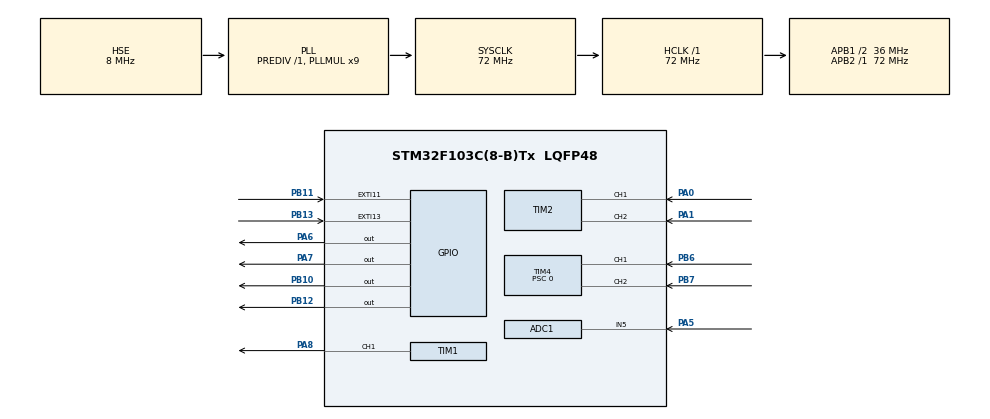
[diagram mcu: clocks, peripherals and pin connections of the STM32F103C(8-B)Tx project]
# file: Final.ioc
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ADC1.Channel-0\#ChannelRegularConversion=ADC_CHANNEL_5
ADC1.ContinuousConvMode=ENABLE
ADC1.NbrOfConversionFlag=1
ADC1.Rank-0\#ChannelRegularConversion=1
ADC1.SamplingTime-0\#ChannelRegularConversion=ADC_SAMPLETIME_1CYCLE_5
ADC1.master=1
Mcu.Family=STM32F1
Mcu.Name=STM32F103C(8-B)Tx
Mcu.Package=LQFP48
NVIC.EXTI15_10_IRQn=true\:0\:0\:false\:false\:true\:true\:true\:true
NVIC.PriorityGroup=NVIC_PRIORITYGROUP_4
NVIC.TIM2_IRQn=true\:0\:0\:false\:false\:true\:true\:true\:true
NVIC.TIM3_IRQn=true\:0\:0\:false\:false\:true\:true\:true\:true
PA0-WKUP.Signal=S_TIM2_CH1_ETR
PA1.Signal=S_TIM2_CH2
PA13.Mode=Serial_Wire
PA13.Signal=SYS_JTMS-SWDIO
PA14.Mode=Serial_Wire
PA14.Signal=SYS_JTCK-SWCLK
PA5.Signal=ADCx_IN5
PA6.GPIO_Speed=GPIO_SPEED_FREQ_HIGH
PA6.PinState=GPIO_PIN_RESET
PA6.Signal=GPIO_Output
PA7.GPIO_Speed=GPIO_SPEED_FREQ_HIGH
PA7.PinState=GPIO_PIN_SET
PA7.Signal=GPIO_Output
PA8.Signal=S_TIM1_CH1
PB10.PinState=GPIO_PIN_RESET
PB10.Signal=GPIO_Output
PB11.GPIO_PuPd=GPIO_PULLDOWN
PB11.Signal=GPXTI11
PB12.GPIO_Speed=GPIO_SPEED_FREQ_HIGH
PB12.Signal=GPIO_Output
PB13.GPIO_PuPd=GPIO_PULLDOWN
PB13.Signal=GPXTI13
PB6.Signal=S_TIM4_CH1
PB7.Signal=S_TIM4_CH2
PD0-OSC_IN.Mode=HSE-External-Oscillator
PD0-OSC_IN.Signal=RCC_OSC_IN
PD1-OSC_OUT.Mode=HSE-External-Oscillator
PD1-OSC_OUT.Signal=RCC_OSC_OUT
ProjectManager.HeapSize=0x200
ProjectManager.StackSize=0x400
ProjectManager.TargetToolchain=STM32CubeIDE
RCC.ADCPresc=RCC_ADCPCLK2_DIV6
RCC.AHBFreq_Value=72000000
RCC.APB1CLKDivider=RCC_HCLK_DIV2
RCC.APB1Freq_Value=36000000
RCC.APB1TimFreq_Value=72000000
RCC.APB2Freq_Value=72000000
RCC.APB2TimFreq_Value=72000000
RCC.HCLKFreq_Value=72000000
RCC.PLLMUL=RCC_PLL_MUL9
RCC.PLLSourceVirtual=RCC_PLLSOURCE_HSE
RCC.SYSCLKFreq_VALUE=72000000
RCC.SYSCLKSource=RCC_SYSCLKSOURCE_PLLCLK
RCC.USBFreq_Value=72000000
SH.ADCx_IN5.0=ADC1_IN5,IN5
SH.S_TIM1_CH1.0=TIM1_CH1,PWM Generation1 CH1
SH.S_TIM2_CH1_ETR.0=TIM2_CH1,Encoder_Interface
SH.S_TIM2_CH2.0=TIM2_CH2,Encoder_Interface
SH.S_TIM4_CH1.0=TIM4_CH1,Encoder_Interface
SH.S_TIM4_CH2.0=TIM4_CH2,Encoder_Interface
TIM1.Channel-PWM\ Generation1\ CH1=TIM_CHANNEL_1
TIM1.Period=20000-1
TIM1.Prescaler=72-1
TIM3.Period=10000-1
TIM3.Prescaler=72-1
TIM4.Period=65535
TIM4.Prescaler=0
VP_TIM1_VS_ClockSourceINT.Mode=Internal
VP_TIM3_VS_ClockSourceINT.Mode=Internal
board=custom

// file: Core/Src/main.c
/* USER CODE BEGIN Header */
/**
  ******************************************************************************
  * @file           : main.c
  * @brief          : Main program body
  ******************************************************************************
  * @attention
  *
  * Copyright (c) 2023 STMicroelectronics.
  * All rights reserved.
  *
  * This software is licensed under terms that can be found in the LICENSE file
  * in the root directory of this software component.
  * If no LICENSE file comes with this software, it is provided AS-IS.
  *
  ******************************************************************************
  */
/* USER CODE END Header */
#include "main.h"
#include "adc.h"
#include "tim.h"
#include "gpio.h"

/* USER CODE BEGIN PV */
int out_max = 60;
int int_max = 21.78;
int cnt = 0;

int Err = 0;
int DErr = 0;
int DLastErr = 0;
float integral = 0;
float derivative = 0;
int SP = 0;
int PV = 0;
float PID = 0;

int Err_pos = 0;
int DErr_pos = 0;
int DLastErr_pos = 0;
float integral_pos = 0;
float derivative_pos = 0;
int SP_pos = 0;
int PV_pos = 0;
float PID_pos = 0;

float Ti = 1;
float Kp = 2;
float Td = 0;
int flag = 0;

float Ti_pos = 100;
float Kp_pos = 0.1;
float Td_pos = 0.007;

int direction = 0;
int Position = 0;
int16_t Position_pos = 0;
int LastPosition = 0;
int dummy = 0;

int16_t val = 0;
int16_t val_pos = 0;

GPIO_PinState mode;
GPIO_PinState Auto_Man;
/* USER CODE END PV */

void SystemClock_Config(void);

int main(void)
{

  /* MCU Configuration--------------------------------------------------------*/

  /* Reset of all peripherals, Initializes the Flash interface and the Systick. */
  HAL_Init();

  /* Configure the system clock */
  SystemClock_Config();

  /* Initialize all configured peripherals */
  MX_GPIO_Init();
  MX_ADC1_Init();
  MX_TIM1_Init();
  MX_TIM2_Init();
  MX_TIM3_Init();
  MX_TIM4_Init();
  /* USER CODE BEGIN 2 */
  HAL_TIM_Base_Start_IT(&htim3);
//  HAL_TIM_Base_Start_IT(&htim4);
  HAL_TIM_PWM_Start(&htim1, TIM_CHANNEL_1);
  HAL_TIM_Encoder_Start_IT(&htim2,TIM_CHANNEL_1);
  HAL_TIM_Encoder_Start_IT(&htim2,TIM_CHANNEL_2);
  HAL_TIM_Encoder_Start_IT(&htim4,TIM_CHANNEL_1);
  HAL_TIM_Encoder_Start_IT(&htim4,TIM_CHANNEL_2);

  HAL_ADC_Start(&hadc1);
//  TIM1 -> CCR1 = 2000;
  /* USER CODE END 2 */

  /* Infinite loop */
  while (1)
  {

  }
}

void SystemClock_Config(void)
{
  RCC_OscInitTypeDef RCC_OscInitStruct = {0};
  RCC_ClkInitTypeDef RCC_ClkInitStruct = {0};
  RCC_PeriphCLKInitTypeDef PeriphClkInit = {0};

  /** Initializes the RCC Oscillators according to the specified parameters
  * in the RCC_OscInitTypeDef structure.
  */
  RCC_OscInitStruct.OscillatorType = RCC_OSCILLATORTYPE_HSE;
  RCC_OscInitStruct.HSEState = RCC_HSE_ON;
  RCC_OscInitStruct.HSEPredivValue = RCC_HSE_PREDIV_DIV1;
  RCC_OscInitStruct.HSIState = RCC_HSI_ON;
  RCC_OscInitStruct.PLL.PLLState = RCC_PLL_ON;
  RCC_OscInitStruct.PLL.PLLSource = RCC_PLLSOURCE_HSE;
  RCC_OscInitStruct.PLL.PLLMUL = RCC_PLL_MUL9;
  if (HAL_RCC_OscConfig(&RCC_OscInitStruct) != HAL_OK)
  {
    Error_Handler();
  }

  /** Initializes the CPU, AHB and APB buses clocks
  */
  RCC_ClkInitStruct.ClockType = RCC_CLOCKTYPE_HCLK|RCC_CLOCKTYPE_SYSCLK
                              |RCC_CLOCKTYPE_PCLK1|RCC_CLOCKTYPE_PCLK2;
  RCC_ClkInitStruct.SYSCLKSource = RCC_SYSCLKSOURCE_PLLCLK;
  RCC_ClkInitStruct.AHBCLKDivider = RCC_SYSCLK_DIV1;
  RCC_ClkInitStruct.APB1CLKDivider = RCC_HCLK_DIV2;
  RCC_ClkInitStruct.APB2CLKDivider = RCC_HCLK_DIV1;

  if (HAL_RCC_ClockConfig(&RCC_ClkInitStruct, FLASH_LATENCY_2) != HAL_OK)
  {
    Error_Handler();
  }
  PeriphClkInit.PeriphClockSelection = RCC_PERIPHCLK_ADC;
  PeriphClkInit.AdcClockSelection = RCC_ADCPCLK2_DIV6;
  if (HAL_RCCEx_PeriphCLKConfig(&PeriphClkInit) != HAL_OK)
  {
    Error_Handler();
  }
}

/* USER CODE BEGIN 4 */
void HAL_GPIO_EXTI_Callback(uint16_t GPIO_Pin)
{
	  UNUSED(GPIO_Pin);
	  if (GPIO_Pin == GPIO_PIN_13)
	  {
		  if (mode == 0){
				 HAL_GPIO_WritePin(GPIOB, GPIO_PIN_12, GPIO_PIN_SET);
				 mode = 1;
		  }
		  else{
				 HAL_GPIO_WritePin(GPIOB, GPIO_PIN_12, GPIO_PIN_RESET);
				 mode = 0;
		  }
	  }

	  if (GPIO_Pin == GPIO_PIN_11)
	  {
		  if (Auto_Man == 0){
			  Auto_Man = 1;
			  HAL_GPIO_WritePin(GPIOB, GPIO_PIN_10, GPIO_PIN_SET);
		  }
		  else{
			  HAL_GPIO_WritePin(GPIOB, GPIO_PIN_10, GPIO_PIN_RESET);
			  Auto_Man = 0;
		  }
	  }
}

void HAL_TIM_PeriodElapsedCallback(TIM_HandleTypeDef *htim)
{
	if (Auto_Man == 1){
		if (mode == 0){		//speed control
			if(htim == &htim2)
				flag = 1;
			if (htim == &htim3){
					Position = __HAL_TIM_GET_COUNTER(&htim2);
					val = HAL_ADC_GetValue(&hadc1);
					SP = (val-2000)/20.;
					if (flag == 0)
						PV = ((float)Position - (float)LastPosition)/(42.0) * 100;
					else if(Position >  LastPosition)
						PV = ((float)Position - 65535 - (float)LastPosition)/(42.0) * 100;
					else
						PV = ((float)Position + 65535 - (float)LastPosition)/(42.0) * 100;
					flag = 0;
					LastPosition = Position;

					Err = SP - PV;  // Reverse control action
					DErr = -PV;		// derivative overrun

					 //PID
					if (Err > 50){		//OUT OF porpotinal band
						direction = 1;
						TIM1 -> CCR1 = out_max*200;
					}
					else if (Err < -50){
						direction = -1;
						TIM1 -> CCR1 = out_max*200;
					}
					else{ // inside the porpotional band
						integral += (float)Err/100.0;
						if ((Err < 0 && integral > 0) || (Err > 0 && integral < 0))
							integral = 0;
						if (integral > int_max) // integral windup
							integral = int_max;
						else if (integral < -int_max)
							integral = -int_max;
						derivative = ((float)DErr - (float)DLastErr)*100.0;
						DLastErr = DErr;
						PID = Kp*(Err + integral/Ti + derivative*Td);

						if (PID > out_max){		// output saturation band
							direction = 1;
							TIM1 -> CCR1 = out_max*200;
						}
						else if (PID < -out_max){
							direction = -1;
							TIM1 -> CCR1 = out_max*200;
						}
						else if (PID > 0){
							direction = 1;
							TIM1 -> CCR1 = PID*200;
						}
						else{
							direction = -1;
							TIM1 -> CCR1 = -PID*200;
						}
					}

					if (direction == -1)
					{
						 HAL_GPIO_WritePin(GPIOA, GPIO_PIN_6, GPIO_PIN_RESET);
						 HAL_GPIO_WritePin(GPIOA, GPIO_PIN_7, GPIO_PIN_SET);
					}
					else
					{
						 HAL_GPIO_WritePin(GPIOA, GPIO_PIN_6, GPIO_PIN_SET);
						 HAL_GPIO_WritePin(GPIOA, GPIO_PIN_7, GPIO_PIN_RESET);
					}
			}
		}
		else{		//position control
			if (htim == &htim3){
					Position_pos = __HAL_TIM_GET_COUNTER(&htim2);
					flag = 0;

					dummy = Position_pos%1100;
					PV_pos = (float)dummy/1100*100.0;

//					PV_pos = (float)Position_pos/(32768)*100.0;

					val_pos = HAL_ADC_GetValue(&hadc1);
					SP_pos = (val_pos-2400)/24.;

					DErr_pos = -PV_pos;
					Err_pos = SP_pos - PV_pos;  // Reverse control action
					 //PID
					if (Err_pos > 100){		//OUT OF porpotinal band
						direction = 1;
						TIM1 -> CCR1 = out_max*200;
					}
					else if (Err_pos < -100){
						direction = -1;
						TIM1 -> CCR1 = out_max*200;
					}
					else{      // inside the porpotional band
						integral_pos += (float)Err_pos/100.0;
						if ((Err_pos < 0 && integral_pos > 0) || (Err_pos > 0 && integral_pos < 0))
							integral_pos = 0;
						if (integral_pos > 70) // integral windup
							integral_pos = int_max;
						else if (integral_pos < -70)
							integral_pos = -int_max;

						derivative_pos = ((float)DErr_pos - (float)DLastErr_pos)*100;
						DLastErr_pos = DErr_pos;

						PID_pos = Kp_pos*(Err_pos + integral_pos/Ti_pos + derivative_pos*Td_pos);

						if (PID_pos > out_max){		// output saturation band
							direction = 1;
							TIM1 -> CCR1 = out_max*200;
						}
						else if (PID_pos < -out_max){
							direction = -1;
							TIM1 -> CCR1 = out_max*200;
						}
						else if (PID_pos > 0){
							direction = 1;
							TIM1 -> CCR1 = PID_pos*200;
						}
						else{
							direction = -1;
							TIM1 -> CCR1 = -PID_pos*200;
						}

					}

					if (direction == -1)
					{
						 HAL_GPIO_WritePin(GPIOA, GPIO_PIN_6, GPIO_PIN_RESET);
						 HAL_GPIO_WritePin(GPIOA, GPIO_PIN_7, GPIO_PIN_SET);
					}
					else
					{
						 HAL_GPIO_WritePin(GPIOA, GPIO_PIN_6, GPIO_PIN_SET);
						 HAL_GPIO_WritePin(GPIOA, GPIO_PIN_7, GPIO_PIN_RESET);
					}
			}
		}
	}
	else
	{
		if(htim == &htim2)
			flag = 1;
		if (htim == &htim3){
				Position = __HAL_TIM_GET_COUNTER(&htim2);
				if (flag == 0)
					PV = ((float)Position - (float)LastPosition)/(42.0) * 100;
				else if(Position >  LastPosition)
					PV = ((float)Position - 65535 - (float)LastPosition)/(42.0) * 100;
				else
					PV = ((float)Position + 65535 - (float)LastPosition)/(42.0) * 100;
				flag = 0;
				LastPosition = Position;

				Err = SP - PV;  // Reverse control action
				integral += (float)Err/100.0;
		}
	}
}
/* USER CODE END 4 */

void Error_Handler(void)
{
  __disable_irq();
  while (1)
  {
  }
}
